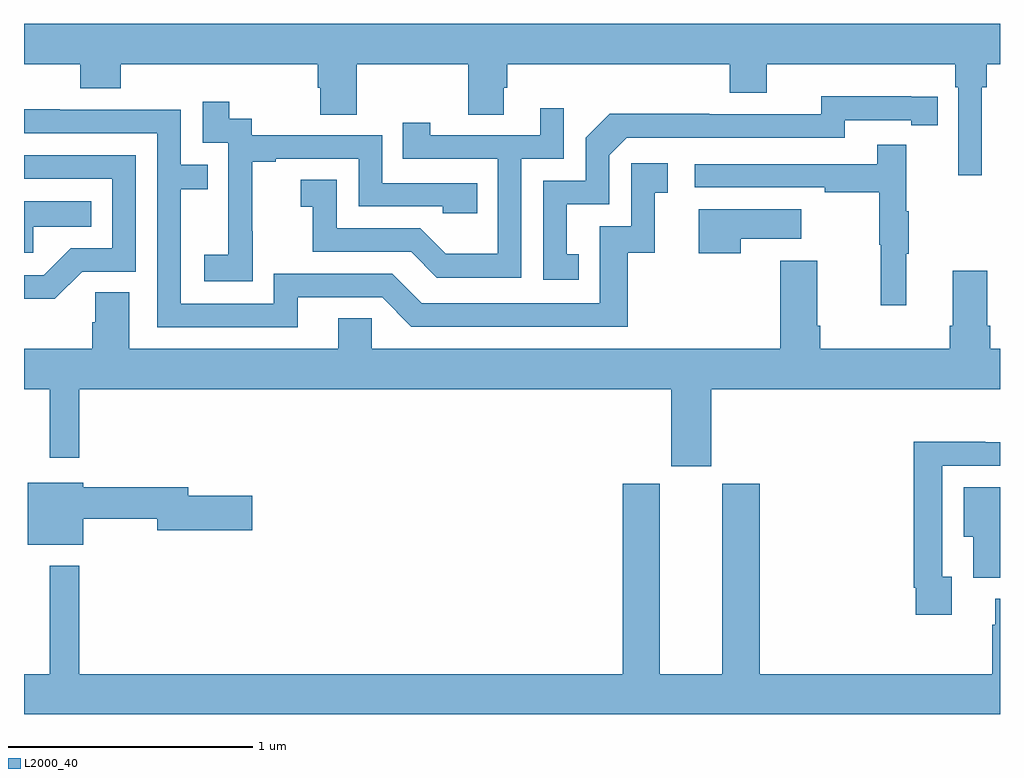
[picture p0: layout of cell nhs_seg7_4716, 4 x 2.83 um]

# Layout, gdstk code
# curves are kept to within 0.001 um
import gdstk
lib = gdstk.Library(unit=1e-6, precision=1e-09)
def P(c, l, *ps):  # polygons
    for p in ps: c.add(gdstk.Polygon(p, *l))
L2000_40 = (2000, 40)

nhs_seg7_4716 = lib.new_cell('nhs_seg7_4716')
P(nhs_seg7_4716, L2000_40, [(410.926,1047.14),(410.945,1047.14),(410.945,1047.236),(411,1047.236),(411,1047.4),(407,1047.4),(407,1047.236),(407.231,1047.236),(407.231,1047.137),(407.396,1047.137),(407.396,1047.236),(408.203,1047.236),(408.203,1047.138),(408.215,1047.138),(408.215,1047.028),(408.363,1047.028),(408.363,1047.236),(408.82,1047.236),(408.82,1047.028),(408.967,1047.028),(408.967,1047.138),(408.98,1047.138),(408.98,1047.236),(409.892,1047.236),(409.892,1047.119),(410.044,1047.119),(410.044,1047.236),(410.816,1047.236),(410.816,1047.14),(410.829,1047.14),(410.829,1046.781),(410.926,1046.781)],
  [(409.274,1046.457),(409.225,1046.457),(409.225,1046.661),(409.398,1046.661),(409.398,1046.862),(409.47,1046.934),(410.364,1046.934),(410.364,1047.006),(410.636,1047.006),(410.636,1046.986),(410.744,1046.986),(410.744,1047.102),(410.268,1047.103),(410.268,1047.03),(409.808,1047.03),(409.808,1047.032),(409.4,1047.032),(409.302,1046.934),(409.302,1046.757),(409.128,1046.757),(409.128,1046.352),(409.274,1046.352)],
  [(407.937,1046.551),(407.936,1046.551),(407.936,1046.835),(408.031,1046.835),(408.031,1046.847),(408.372,1046.847),(408.372,1046.652),(408.717,1046.652),(408.717,1046.625),(408.857,1046.625),(408.857,1046.748),(408.468,1046.748),(408.468,1046.943),(407.934,1046.943),(407.934,1047.012),(407.842,1047.012),(407.842,1047.082),(407.733,1047.082),(407.733,1046.913),(407.838,1046.913),(407.838,1046.684),(407.837,1046.684),(407.837,1046.455),(407.739,1046.455),(407.739,1046.345),(407.937,1046.345)],
  [(409.038,1046.847),(409.212,1046.847),(409.212,1047.055),(409.115,1047.055),(409.115,1046.943),(408.664,1046.943),(408.664,1046.995),(408.553,1046.995),(408.553,1046.847),(408.942,1046.847),(408.942,1046.458),(408.728,1046.458),(408.624,1046.562),(408.282,1046.562),(408.282,1046.761),(408.135,1046.761),(408.135,1046.651),(408.184,1046.651),(408.184,1046.466),(408.587,1046.466),(408.692,1046.361),(409.038,1046.361)],
  [(408.121,1046.28),(408.468,1046.28),(408.588,1046.16),(409.475,1046.16),(409.475,1046.463),(409.586,1046.463),(409.586,1046.709),(409.639,1046.709),(409.639,1046.83),(409.488,1046.83),(409.488,1046.571),(409.359,1046.571),(409.359,1046.256),(408.63,1046.256),(408.51,1046.376),(408.024,1046.376),(408.024,1046.253),(407.643,1046.253),(407.643,1046.722),(407.753,1046.722),(407.753,1046.823),(407.643,1046.823),(407.643,1047.048),(407.147,1047.048),(407.147,1047.05),(407,1047.05),(407,1046.952),(407.547,1046.952),(407.547,1046.157),(408.121,1046.157)],
  [(410.615,1046.459),(410.626,1046.459),(410.626,1046.633),(410.615,1046.633),(410.615,1046.905),(410.497,1046.905),(410.497,1046.826),(409.749,1046.826),(409.749,1046.73),(410.281,1046.73),(410.281,1046.71),(410.505,1046.71),(410.505,1046.496),(410.512,1046.496),(410.512,1046.247),(410.615,1046.247)],
  [(407.238,1046.385),(407.457,1046.385),(407.457,1046.862),(407,1046.862),(407,1046.766),(407.361,1046.766),(407.361,1046.481),(407.192,1046.481),(407.081,1046.37),(407,1046.37),(407,1046.273),(407.125,1046.273)],
  [(407.037,1046.57),(407.276,1046.57),(407.276,1046.674),(407,1046.674),(407,1046.462),(407.037,1046.462)],
  [(409.937,1046.519),(410.185,1046.519),(410.185,1046.641),(409.766,1046.641),(409.766,1046.46),(409.937,1046.46)],
  [(409.816,1045.904),(411,1045.904),(411,1046.068),(410.96,1046.068),(410.96,1046.164),(410.947,1046.164),(410.947,1046.389),(410.807,1046.389),(410.807,1046.164),(410.795,1046.164),(410.795,1046.068),(410.264,1046.068),(410.264,1046.164),(410.251,1046.164),(410.251,1046.43),(410.099,1046.43),(410.099,1046.068),(408.426,1046.068),(408.426,1046.195),(408.287,1046.195),(408.287,1046.068),(407.431,1046.068),(407.431,1046.3),(407.292,1046.3),(407.292,1046.177),(407.279,1046.177),(407.279,1046.068),(407,1046.068),(407,1045.904),(407.105,1045.904),(407.105,1045.623),(407.227,1045.623),(407.227,1045.904),(409.652,1045.904),(409.652,1045.587),(409.816,1045.587)],
  [(410.803,1045.134),(410.763,1045.134),(410.763,1045.59),(411,1045.59),(411,1045.686),(410.939,1045.686),(410.939,1045.688),(410.647,1045.688),(410.647,1045.09),(410.655,1045.09),(410.655,1044.978),(410.803,1044.978)],
  [(407.242,1045.372),(407.546,1045.372),(407.546,1045.325),(407.935,1045.325),(407.935,1045.467),(407.674,1045.467),(407.674,1045.501),(407.242,1045.501),(407.242,1045.519),(407.015,1045.519),(407.015,1045.265),(407.242,1045.265)],
  [(411,1045.045),(410.981,1045.045),(410.981,1044.938),(410.969,1044.938),(410.969,1044.736),(410.015,1044.736),(410.015,1045.515),(409.862,1045.515),(409.862,1044.736),(409.606,1044.736),(409.606,1045.515),(409.454,1045.515),(409.454,1044.736),(407.227,1044.736),(407.227,1045.18),(407.105,1045.18),(407.105,1044.736),(407,1044.736),(407,1044.572),(411,1044.572)],
  [(411,1045.501),(410.852,1045.501),(410.852,1045.298),(410.891,1045.298),(410.891,1045.13),(411,1045.13)])

lib.write_gds('nhs_seg7_4716.gds')
